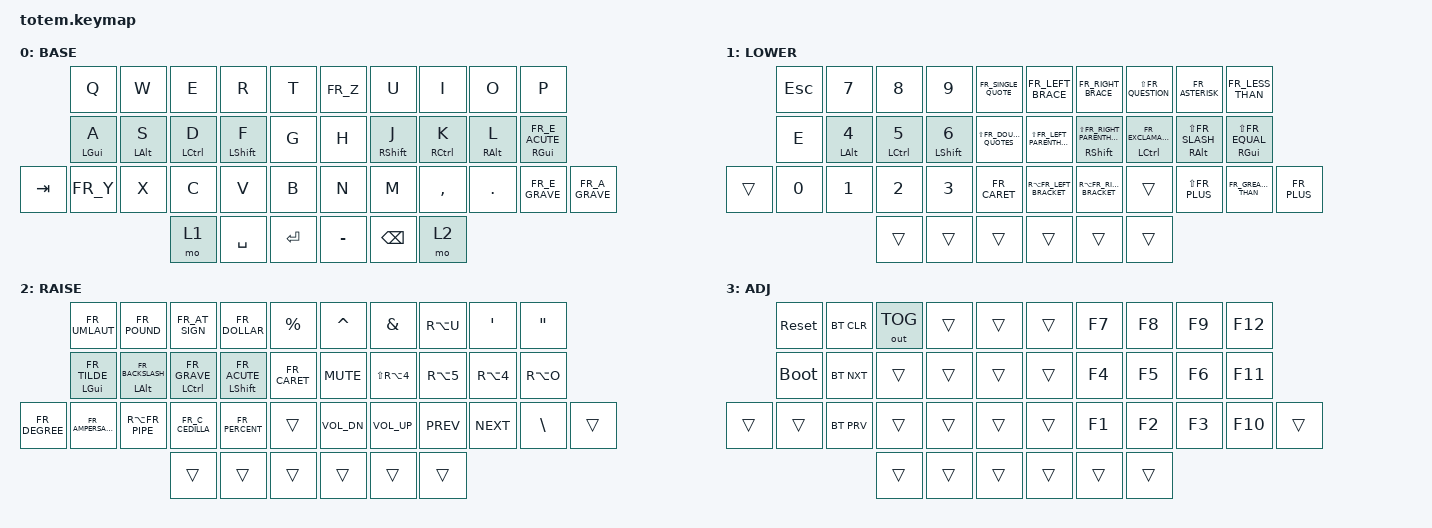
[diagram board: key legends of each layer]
//
//                                                        ▀▀▀▀▀     ▀▀▀▀▀          ▀▀█▀▀
//                                                        ▄▀▀▀▄  ▄  ▄▀▀▀▄  ▄  ▄▀▀▀▄  █  ▄▀▀▀▄
//                                                        █   █  █  █   █  █  █   █  █  █   █
//                                                         ▀▀▀   █   ▀▀▀   █   ▀▀▀   ▀   ▀▀▀
//                                                               █      ▄▄▄█▄▄▄    █   █  
//                                                               ▀      █  █  █     █▄█
//                                                             ▀▀▀▀▀    █  █  █      ▀
//                                                                      ▀  ▀  ▀
//
// ▄▄▄▄▄▄▄▄▄▄▄▄▄▄▄▄▄▄▄▄▄▄▄▄▄▄▄▄▄▄▄▄▄▄▄▄▄▄▄▄▄▄▄▄▄▄▄▄▄▄▄▄▄▄▄▄▄▄▄▄▄▄▄▄▄▄▄▄▄▄▄▄▄▄▄▄▄▄▄▄▄▄▄▄▄▄▄▄▄▄▄▄▄▄▄▄▄▄▄▄▄▄▄▄▄▄▄▄▄▄▄▄▄▄▄▄▄▄▄▄▄▄▄▄▄▄▄▄▄▄▄▄▄▄▄▄▄▄▄▄▄▄▄▄▄▄▄▄▄

#include <behaviors.dtsi>
#include "keys_fr_swiss.h"
#include <dt-bindings/zmk/bt.h>
#include <dt-bindings/zmk/keys.h>
#include <dt-bindings/zmk/outputs.h>

#define BASE 0
#define NAV  1
#define SYM  2
#define ADJ  3
#define TVP1 4
#define TVP2 5

&mt {
    quick-tap-ms = <100>;
    global-quick-tap;
    flavor = "tap-preferred";
    tapping-term-ms = <170>;
};

/ {
    combos {
        compatible = "zmk,combos";

        combo_esc {
            timeout-ms = <50>;
            key-positions = <0 1>;
            bindings = <&kp ESC>;
        };
    };

    macros {
    };

    keymap {
        compatible = "zmk,keymap";

        base_layer {
            label = "BASE";
            bindings = <
         &kp Q       &kp W       &kp E        &kp R        &kp T        &kp FR_Z   &kp U          &kp I        &kp O       &kp P
         &mt LGUI A  &mt LALT S  &mt LCTRL D  &mt LSHFT F  &kp G        &kp H      &mt RSHFT J    &mt RCTRL K  &mt RALT L  &mt RGUI FR_E_ACUTE
&kp TAB  &kp FR_Y    &kp X       &kp C        &kp V        &kp B        &kp N      &kp M          &kp COMMA    &kp DOT     &kp FR_E_GRAVE       &kp FR_A_GRAVE
                                 &mo 1        &kp SPACE    &kp ENTER    &kp MINUS  &kp BACKSPACE  &mo 2
            >;
        };

        lower_layer {
            label = "LOWER";
            bindings = <
        &kp ESC  &kp N7       &kp N8        &kp N9         &kp FR_SINGLE_QUOTE         &kp FR_LEFT_BRACE            &kp FR_RIGHT_BRACE                   &kp LS(FR_QUESTION)       &kp FR_ASTERISK        &kp FR_LESS_THAN
        &kp E    &mt LALT N4  &mt LCTRL N5  &mt LSHIFT N6  &kp LS(FR_DOUBLE_QUOTES)    &kp LS(FR_LEFT_PARENTHESIS)  &mt RSHIFT LS(FR_RIGHT_PARENTHESIS)  &mt LCTRL FR_EXCLAMATION  &mt RALT LS(FR_SLASH)  &mt RIGHT_GUI LS(FR_EQUAL)
&trans  &kp N0   &kp N1       &kp N2        &kp N3         &kp FR_CARET                &kp RA(FR_LEFT_BRACKET)      &kp RA(FR_RIGHT_BRACKET)             &trans                    &kp LS(FR_PLUS)        &kp FR_GREATER_THAN         &kp FR_PLUS
                              &trans        &trans         &trans                      &trans                       &trans                               &trans
            >;
        };

        raise_layer {
            label = "RAISE";
            bindings = <
               &kp FR_UMLAUT      &kp FR_POUND           &kp FR_AT_SIGN      &kp FR_DOLLAR        &kp PRCNT       &kp CARET     &kp AMPS        &kp RA(U)   &kp SQT     &kp DQT
               &mt LGUI FR_TILDE  &mt LALT FR_BACKSLASH  &mt LCTRL FR_GRAVE  &mt LSHIFT FR_ACUTE  &kp FR_CARET    &kp C_MUTE    &kp LS(RA(N4))  &kp RA(N5)  &kp RA(N4)  &kp RA(O)
&kp FR_DEGREE  &kp FR_AMPERSAND   &kp RA(FR_PIPE)        &kp FR_C_CEDILLA    &kp FR_PERCENT       &trans          &kp C_VOL_DN  &kp C_VOL_UP    &kp C_PREV  &kp C_NEXT  &kp BSLH   &trans
                                                         &trans              &trans               &trans          &trans        &trans          &trans
            >;
        };

        adjust_layer {
            label = "ADJ";
            bindings = <
        &sys_reset   &bt BT_CLR  &out OUT_TOG  &trans  &trans    &trans  &kp F7  &kp F8  &kp F9  &kp F12
        &bootloader  &bt BT_NXT  &trans        &trans  &trans    &trans  &kp F4  &kp F5  &kp F6  &kp F11
&trans  &trans       &bt BT_PRV  &trans        &trans  &trans    &trans  &kp F1  &kp F2  &kp F3  &kp F10  &trans
                                 &trans        &trans  &trans    &trans  &trans  &trans
            >;
        };
    };

    conditional_layers {
        compatible = "zmk,conditional-layers";

        cond_adjust {
            if-layers = <1 2>;
            then-layer = <3>;
        };
    };
};
